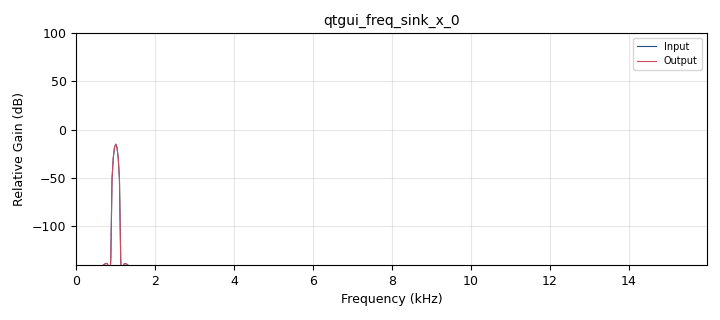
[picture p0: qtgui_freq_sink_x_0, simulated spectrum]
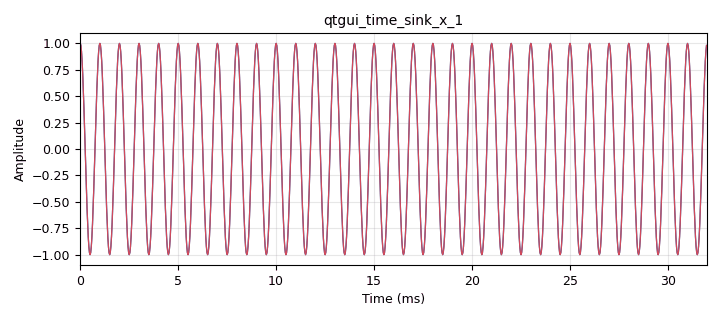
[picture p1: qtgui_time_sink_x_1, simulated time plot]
options:
  parameters:
    generate_options: qt_gui
    id: gain
    output_language: python
    title: Time and Freq Domains
  states: {}

blocks:
- name: samp_rate
  id: variable
  parameters:
    value: '32000'
  states: {}
- name: set_gain
  id: variable_qtgui_range
  parameters:
    min_len: '20'
    start: '0'
    step: '1'
    stop: '100'
    value: '1'
    widget: slider
  states: {}
- name: analog_sig_source_x_0
  id: analog_sig_source_x
  parameters:
    amp: '1'
    freq: '1000'
    offset: '0'
    phase: '0'
    samp_rate: samp_rate
    type: float
    waveform: analog.GR_COS_WAVE
  states: {}
- name: blocks_multiply_const_vxx_1
  id: blocks_multiply_const_vxx
  parameters:
    const: set_gain
    type: float
  states: {}
- name: blocks_throttle_0
  id: blocks_throttle
  parameters:
    samples_per_second: samp_rate
    type: float
  states: {}
- name: qtgui_freq_sink_x_0
  id: qtgui_freq_sink_x
  parameters:
    bw: samp_rate
    ctrlpanel: 'True'
    fc: '0'
    fftsize: '1024'
    freqhalf: 'False'
    grid: 'True'
    label1: Input
    label2: Output
    nconnections: '2'
    tr_mode: qtgui.TRIG_MODE_AUTO
    type: float
    ymax: '100'
  states: {}
- name: qtgui_time_sink_x_1
  id: qtgui_time_sink_x
  parameters:
    autoscale: 'True'
    ctrlpanel: 'True'
    grid: 'True'
    label1: Input
    label2: Output
    legend: 'False'
    nconnections: '2'
    size: '1024'
    srate: samp_rate
    type: float
    ymax: '10'
    ymin: '-10'
    yunit: '"Counts"'
  states: {}

connections:
- [analog_sig_source_x_0, '0', blocks_throttle_0, '0']
- [blocks_multiply_const_vxx_1, '0', qtgui_freq_sink_x_0, '1']
- [blocks_multiply_const_vxx_1, '0', qtgui_time_sink_x_1, '1']
- [blocks_throttle_0, '0', blocks_multiply_const_vxx_1, '0']
- [blocks_throttle_0, '0', qtgui_freq_sink_x_0, '0']
- [blocks_throttle_0, '0', qtgui_time_sink_x_1, '0']

metadata:
  file_format: 1
  grc_version: 3.10.5.1
